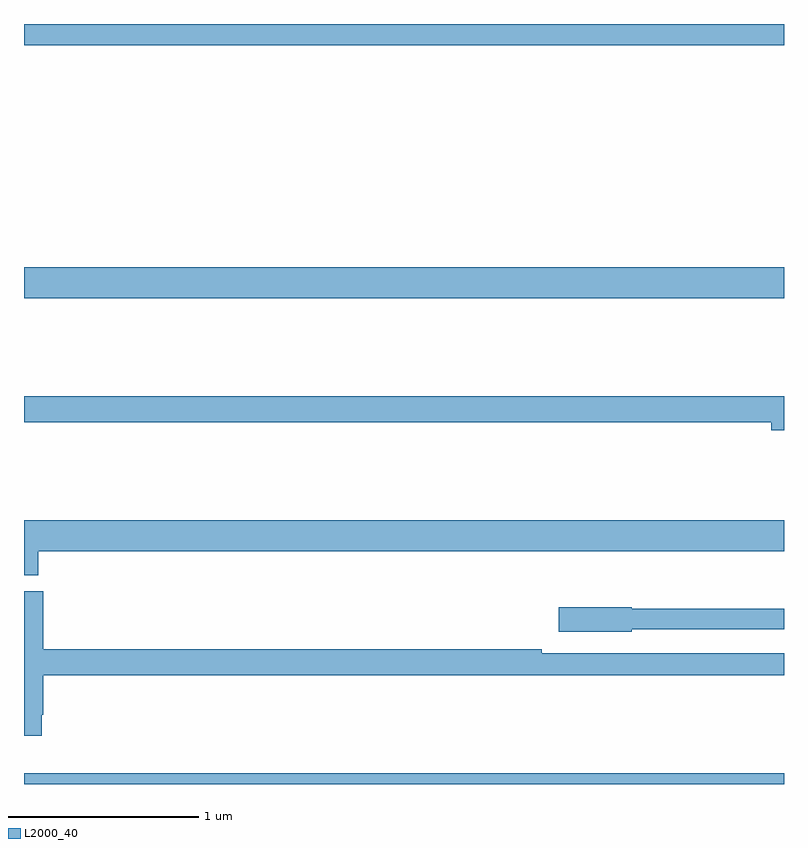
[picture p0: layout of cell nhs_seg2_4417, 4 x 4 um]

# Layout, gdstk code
import gdstk
lib = gdstk.Library(unit=1e-6, precision=1e-09)
def R(c, l, rs):  # rectangles x0, y0, x1, y1
    for r in rs: c.add(gdstk.rectangle(r[:2], r[2:], *l))
def P(c, l, *ps):  # polygons
    for p in ps: c.add(gdstk.Polygon(p, *l))
L2000_40 = (2000, 40)

nhs_seg2_4417 = lib.new_cell('nhs_seg2_4417')
R(nhs_seg2_4417, L2000_40, [(351,591.8,355,591.856), (351,594.356,355,594.52), (351,595.688,355,595.8)])
P(nhs_seg2_4417, L2000_40, [(355,593.84),(351,593.84),(351,593.704),(354.932,593.704),(354.932,593.662),(355,593.662)],
  [(351.074,593.024),(355,593.024),(355,593.188),(351,593.188),(351,592.9),(351.074,592.9)],
  [(351.094,592.165),(351.101,592.165),(351.101,592.372),(355,592.372),(355,592.488),(353.726,592.488),(353.726,592.508),(351.101,592.508),(351.101,592.815),(351,592.815),(351,592.053),(351.094,592.053)],
  [(354.198,592.614),(355,592.614),(355,592.723),(354.198,592.723),(354.198,592.731),(353.814,592.731),(353.814,592.601),(354.198,592.601)])

lib.write_gds('nhs_seg2_4417.gds')
